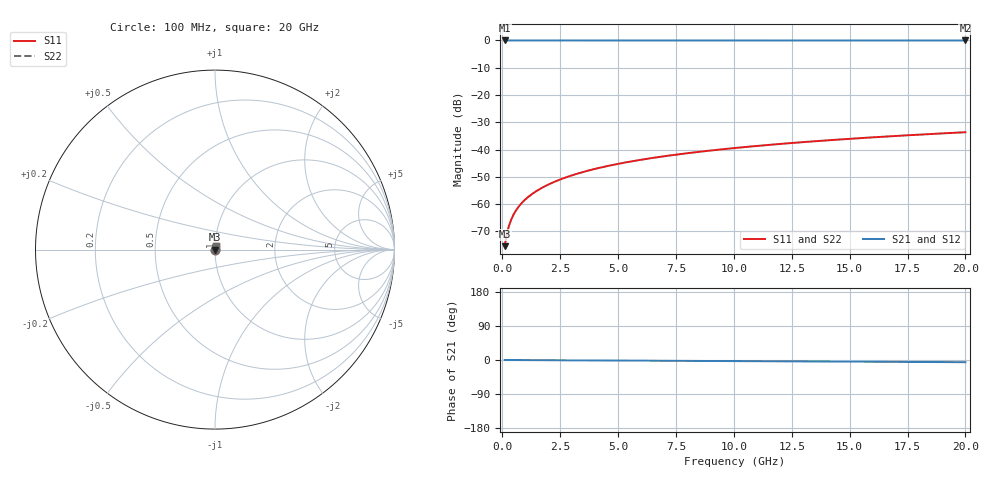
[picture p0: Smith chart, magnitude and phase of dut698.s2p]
! Touchstone file exported from HFSS 2026.1.0
!  File:  C:/ffzhzh/LocalFiles/Ansys_Project_Files/temp_train_TSV_698_1783027814_46388.aedt
!  Generated:  05:32:13 AM Jul  3, 2026
!  Design:  TSV
!  Project:  temp_train_TSV_698_1783027814_46388
! Variables:
!  h_bsmrdl = 2um
!  h_ox = 20um
!  h_rdl = 5um
!  h_sub = 51.52um
!  h_tmrdl = 5um
!  h_tsv = 51.52um
!  h_via = 3um
!  l_bsmrdl = 300um
!  l_sub = 418.38um
!  l_tmrdl = 200um
!  m_sub = 200um
!  pitch = 46.39um
!  r_tsv = 9.19um
!  s_tmrdl = 10um
!  w_bsmrdl = 18um
!  w_sub = 500um
!  w_tmrdl = 12um
!  x_tsv_center1 = 206um
!  x_tsv_center2 = 524um
!  x_tsv_center3 = 736um
!  x_tsv_center4 = 1054um
!  x_tsv_center5 = 1266um
!  x_tsv_center6 = 1584um
# GHz S MA R 50.000000
! Terminal data exported
! Port[1] = TSV1_1_T1
! Port[2] = TSV1_1_T2
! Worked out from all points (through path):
!   200 points, 100 MHz to 20 GHz, reference 50 ohm
!   highest |S21| = 0.00 dB at 100 MHz (marker M1); lowest = 0.0 dB at 20 GHz (marker M2)
!   lowest |S11| = -75.4 dB at 100 MHz (marker M3), VSWR 1.00, Z = 50 + j0.0134 ohm
!   |S11| at or under -10 dB: start of sweep to end of sweep
!   |S22| runs from -75.4 to -33.6 dB; largest |S21 - S12| = 2.2e-15
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0.1  0.00017 52.2  0.9999 -0.0  0.9999 -0.0  0.00017 52.2
! Gamma 0 0 0 0
! Port Impedance 50 0 50 0
0.2  0.0002894 67.1  0.9999 -0.1  0.9999 -0.1  0.0002894 67.1
0.3  0.0004149 72.4  0.9999 -0.1  0.9999 -0.1  0.0004149 72.4
0.4  0.000539 74.8  0.9999 -0.1  0.9999 -0.1  0.000539 74.8
0.5  0.0006601 76.2  0.9998 -0.2  0.9998 -0.2  0.0006601 76.2
0.6  0.000778 77.0  0.9998 -0.2  0.9998 -0.2  0.000778 77.0
0.7  0.000893 77.7  0.9998 -0.2  0.9998 -0.2  0.000893 77.7
0.8  0.001006 78.2  0.9998 -0.2  0.9998 -0.2  0.001006 78.2
1  0.001226 79.0  0.9998 -0.3  0.9998 -0.3  0.001226 79.0
1.4  0.001658 80.4  0.9997 -0.4  0.9997 -0.4  0.001658 80.4
1.7  0.001979 81.1  0.9997 -0.5  0.9997 -0.5  0.001979 81.1
2  0.002299 81.7  0.9997 -0.6  0.9997 -0.6  0.002299 81.7
2.7  0.003047 82.7  0.9996 -0.8  0.9996 -0.8  0.003047 82.7
3.5  0.003898 83.2  0.9996 -1.0  0.9996 -1.0  0.003898 83.2
4.2  0.004638 83.5  0.9996 -1.2  0.9996 -1.2  0.004638 83.5
5  0.005479 83.6  0.9995 -1.5  0.9995 -1.5  0.005479 83.6
6.8  0.007353 83.7  0.9994 -2.0  0.9994 -2.0  0.007353 83.7
8.3  0.008902 83.7  0.9994 -2.4  0.9994 -2.4  0.008902 83.7
10.1  0.01075 83.5  0.9993 -2.9  0.9993 -2.9  0.01075 83.5
13.4  0.01413 83.0  0.9991 -3.9  0.9991 -3.9  0.01413 83.0
16.7  0.01748 82.3  0.999 -4.8  0.999 -4.8  0.01748 82.4
20  0.02081 81.6  0.9988 -5.8  0.9988 -5.8  0.02081 81.6
